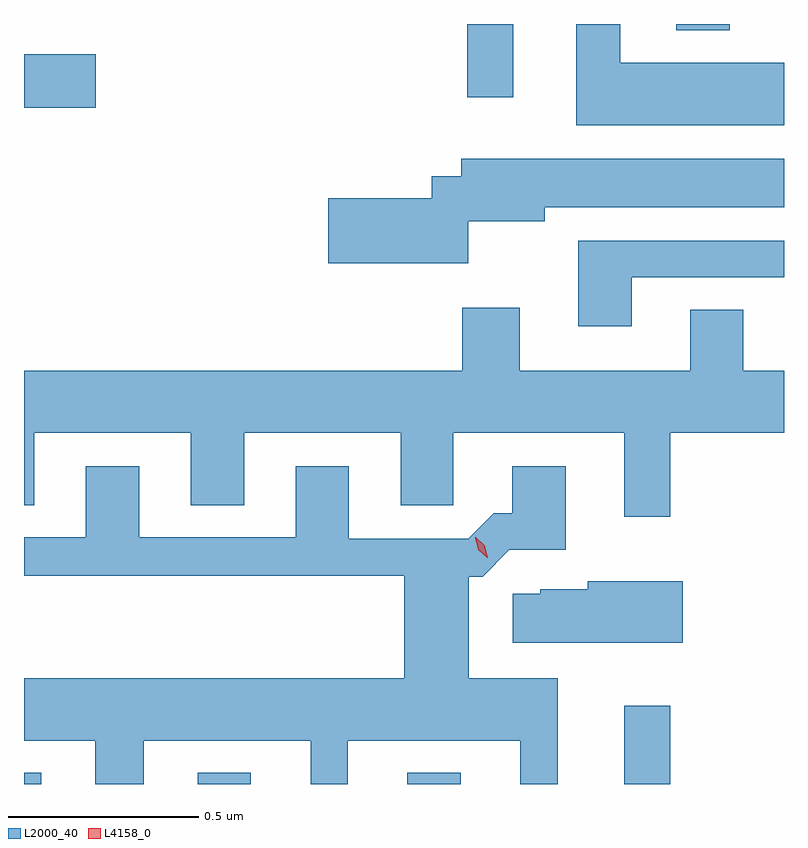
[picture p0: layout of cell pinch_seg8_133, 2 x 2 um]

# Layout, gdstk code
import gdstk
lib = gdstk.Library(unit=1e-6, precision=1e-09)
def R(c, l, rs):  # rectangles x0, y0, x1, y1
    for r in rs: c.add(gdstk.rectangle(r[:2], r[2:], *l))
def P(c, l, *ps):  # polygons
    for p in ps: c.add(gdstk.Polygon(p, *l))
L2000_40 = (2000, 40)
L4158_0 = (4158, 0)

pinch_seg8_133 = lib.new_cell('pinch_seg8_133')
R(pinch_seg8_133, L2000_40, [(813.784,1132.892,813.829,1132.921), (814.241,1132.892,814.381,1132.921), (814.793,1132.892,814.933,1132.921), (815.363,1132.892,815.485,1133.098), (813.784,1134.671,813.973,1134.813), (814.95,1134.699,815.071,1134.892), (815.501,1134.875,815.641,1134.892)])
P(pinch_seg8_133, L2000_40, [(815.784,1134.79),(815.353,1134.79),(815.353,1134.892),(815.237,1134.892),(815.237,1134.626),(815.784,1134.626)],
  [(814.953,1134.373),(815.155,1134.373),(815.155,1134.41),(815.784,1134.41),(815.784,1134.538),(814.934,1134.538),(814.934,1134.491),(814.857,1134.491),(814.857,1134.434),(814.584,1134.434),(814.584,1134.263),(814.953,1134.263)],
  [(815.383,1134.225),(815.784,1134.225),(815.784,1134.321),(815.243,1134.321),(815.243,1134.096),(815.383,1134.096)],
  [(815.363,1133.595),(815.485,1133.595),(815.485,1133.816),(815.784,1133.816),(815.784,1133.98),(815.677,1133.98),(815.677,1134.14),(815.537,1134.14),(815.537,1133.98),(815.089,1133.98),(815.089,1134.145),(814.937,1134.145),(814.937,1133.98),(813.784,1133.98),(813.784,1133.626),(813.811,1133.626),(813.811,1133.816),(814.223,1133.816),(814.223,1133.626),(814.363,1133.626),(814.363,1133.816),(814.775,1133.816),(814.775,1133.626),(814.914,1133.626),(814.914,1133.816),(815.363,1133.816)],
  [(814.099,1133.006),(814.538,1133.006),(814.538,1132.892),(814.636,1132.892),(814.636,1133.006),(815.09,1133.006),(815.09,1132.892),(815.188,1132.892),(815.188,1133.17),(814.954,1133.17),(814.954,1133.438),(814.991,1133.438),(815.061,1133.508),(815.209,1133.508),(815.209,1133.728),(815.069,1133.728),(815.069,1133.605),(815.02,1133.605),(814.953,1133.538),(814.639,1133.538),(814.639,1133.728),(814.499,1133.728),(814.499,1133.541),(814.087,1133.541),(814.087,1133.728),(813.947,1133.728),(813.947,1133.541),(813.784,1133.541),(813.784,1133.44),(814.784,1133.44),(814.784,1133.17),(813.784,1133.17),(813.784,1133.006),(813.971,1133.006),(813.971,1132.892),(814.099,1132.892)],
  [(815.518,1133.425),(815.268,1133.425),(815.268,1133.404),(815.142,1133.404),(815.142,1133.393),(815.07,1133.393),(815.07,1133.264),(815.518,1133.264)])
P(pinch_seg8_133, L4158_0, [(815.003,1133.487),(814.979,1133.509),(814.972,1133.541),(814.972,1133.541),(814.973,1133.541),(814.997,1133.519),(815.004,1133.487),(815.004,1133.487)])

lib.write_gds('pinch_seg8_133.gds')
